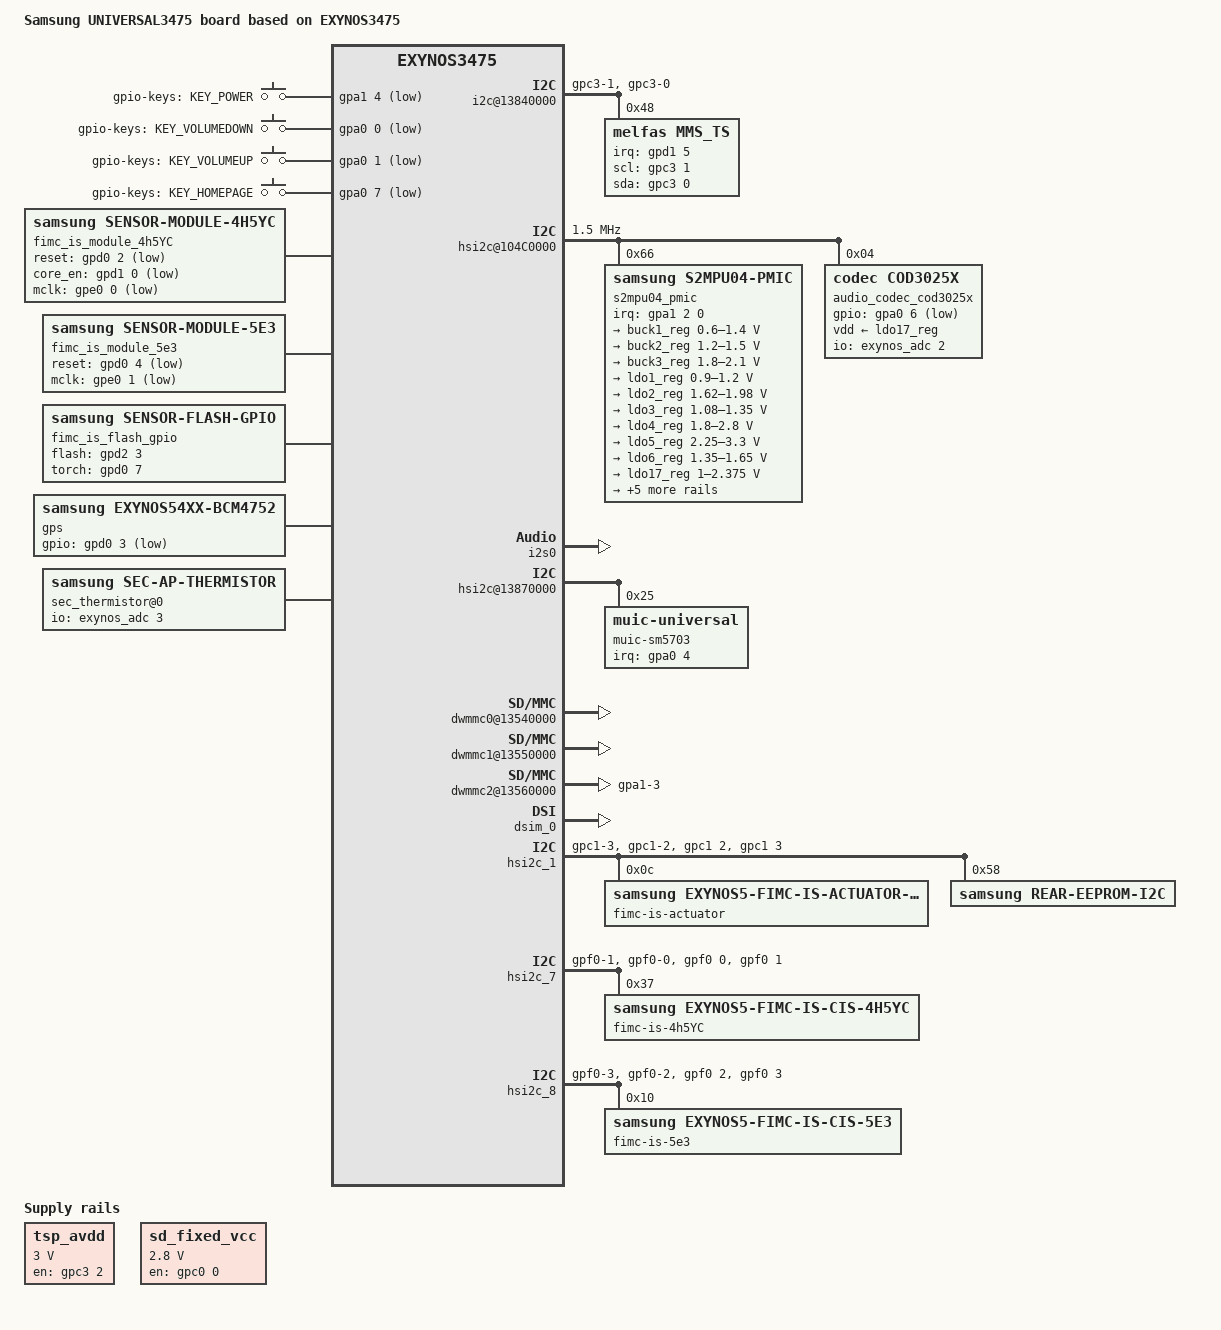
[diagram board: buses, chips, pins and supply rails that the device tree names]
/*
 * SAMSUNG EXYNOS3475 board device tree source
 *
 * Copyright (c) 2013 Samsung Electronics Co., Ltd.
 *		http://www.samsung.com
 *
 * This program is free software; you can redistribute it and/or modify
 * it under the terms of the GNU General Public License version 2 as
 * published by the Free Software Foundation.
*/

#include "exynos3475.dtsi"

/ {
	model = "Samsung UNIVERSAL3475 board based on EXYNOS3475";
	compatible = "samsung,UNIVERSAL3475", "samsung,exynos3475";

	reserved-memory {
		#address-cells = <1>;
		#size-cells = <1>;
		ranges;

		mfc_nfw {
			compatible = "exynos5433-ion,mfc_nfw";
			size = <0x100000>;
			alignment = <0x100000>;
			id = <12>;
		};
	};

	chosen {
		bootargs = "console=ttySAC2,115200 vmalloc=256M ess_setup=0x26000000";
		linux,initrd-start = <0x22000000>;
		linux,initrd-end = <0x221FFFFF>;
	};

	fixed-rate-clocks {
		oscclk {
			compatible = "samsung,exynos3475-oscclk";
			clock-frequency = <26000000>;
		};
	};

	tsp_ldo_en {
		compatible = "regulator-fixed";
		regulator-name = "tsp_avdd";
		regulator-min-microvolt = <3000000>;
		regulator-max-microvolt = <3000000>;
		gpio = <&gpc3 2 0>;
		enable-active-high;
	 };

	pinctrl@139C0000 {
		attn_irq: attn-irq {
			samsung,pins = "gpd1-5";
			samsung,pin-function = <0xf>;
			samsung,pin-pud = <0>;
			samsung,pin-drv = <0>;
		};

		attn_input: attn-input {
			samsung,pins = "gpd1-5";
			samsung,pin-function = <0>;
			samsung,pin-pud = <0>;
			samsung,pin-drv = <0>;
		};
	};

	pinctrl@138D0000 {
		tsp_i2c: tsp-i2c {
			samsung,pins = "gpc3-1", "gpc3-0";
			samsung,pin-function = <2>;
			samsung,pin-pud = <0>;
			samsung,pin-drv = <0>;
		};
	};

	i2c@13840000 {
		samsung,i2c-sda-delay = <100>;
		samsung,i2c-max-bus-freq = <300000>;
		status = "okay";
		pinctrl-names = "default";
		pinctrl-0 = <&tsp_i2c>;
		mms_ts@48 {
			compatible = "melfas,mms_ts";
			reg = <0x48>;
			pinctrl-names = "on_state", "off_state";
			pinctrl-0 = <&attn_irq>;
			pinctrl-1 = <&attn_input>;
			melfas,vdd_en = "tsp_avdd";
			melfas,irq-gpio = <&gpd1 5 0>;
			melfas,scl-gpio = <&gpc3 1 0>;
			melfas,sda-gpio = <&gpc3 0 0>;
			melfas,max_x = <720>;
			melfas,max_y = <1280>;
			melfas,fw_name = "tsp_melfas/mms438_o5.fw";
		};
	};

	pinctrl@139B0000 {
		pmic_irq: pmic-irq {
			samsung,pins = "gpa1-2";
			samsung,pin-pud = <3>;
			samsung,pin-drv = <3>;
		};

		if_irq: if-irq {
			samsung,pins = "gpa0-2";
			samsung,pin-pud = <3>;
			samsung,pin-drv = <3>;
		};

		cod3025_irq: cod3025-irq {
			samsung,pins = "gpa0-6";
			samsung,pin-pud = <3>;
			samsung,pin-drv = <3>;
		};
	};

	pinctrl@139C0000 {
		/* Warm reset information from AP */
		pm_wrsti: pm-wrsti {
			samsung,pins = "gpd0-1";
			samsung,pin-con-pdn = <3>;
		};
	};

	but_zones: but_zones {
		#list-but-cells = <3>;
	};

	hsi2c@104C0000 {
        status = "okay";
		samsung,hs-mode;
		clock-frequency = <1500000>;
		samsung,hsi2c-batcher;
		#address-cells = <1>;
		#size-cells = <0>;
		s2mpu04_pmic@66 {
			compatible = "samsung,s2mpu04-pmic";
			reg = <0x66>;
			ten-bit-address;
			interrupts = <2 0 0>;
			interrupt-parent = <&gpa1>;
			pinctrl-names = "default";
			pinctrl-0 = <&pmic_irq &pm_wrsti>;
			/* RTC: wtsr/smpl */
			wtsr_en = <1>; /* enable */
			smpl_en = <1>; /* enable */
			wtsr_timer_val = <3>;   /* 1000ms */
			smpl_timer_val = <4>;   /* 500ms */
			check_jigon = <0>; /* do not check jigon */
			/* RTC: If it's first boot, reset rtc to 1/1/2015 12:00:00(Wed) */
			init_time,sec = <0>;
			init_time,min = <0>;
			init_time,hour = <12>;
			init_time,mday = <1>;
			init_time,mon = <0>;
			init_time,year = <115>;
			init_time,wday = <4>;

			regulators {
				buck1_reg: BUCK1 {
					regulator-name = "vdd_core";
					regulator-min-microvolt = <600000>;
					regulator-max-microvolt = <1400000>;
					regulator-always-on;
					regulator-boot-on;
					regulator-ramp-delay = <12000>;
					regulator-initial-mode = <3>;
					regulator-expected-consumer = <4>;
				};

				buck2_reg: BUCK2 {
					regulator-name = "vdd_lldo";
					regulator-min-microvolt = <1200000>;
					regulator-max-microvolt = <1500000>;
					regulator-always-on;
					regulator-boot-on;
					regulator-ramp-delay = <12000>;
					regulator-initial-mode = <3>;
				};

				buck3_reg: BUCK3 {
					regulator-name = "vdd_mldo";
					regulator-min-microvolt = <1800000>;
					regulator-max-microvolt = <2100000>;
					regulator-always-on;
					regulator-boot-on;
					regulator-ramp-delay = <12000>;
					regulator-initial-mode = <3>;
				};

				ldo1_reg: LDO1 {
					regulator-name = "vdd_ldo1";
					regulator-min-microvolt = <900000>;
					regulator-max-microvolt = <1200000>;
					regulator-always-on;
					regulator-boot-on;
					regulator-initial-mode = <3>;
				};
				ldo2_reg: LDO2 {
					regulator-name = "vdd_ldo2";
					regulator-min-microvolt = <1620000>;
					regulator-max-microvolt = <1980000>;
					regulator-always-on;
					regulator-boot-on;
					regulator-initial-mode = <3>;
				};

				ldo3_reg: LDO3 {
					regulator-name = "vdd_ldo3";
					regulator-min-microvolt = <1080000>;
					regulator-max-microvolt = <1350000>;
					regulator-boot-on;
					regulator-always-on;
					regulator-initial-mode = <3>;
				};

				ldo4_reg: LDO4 {
					regulator-name = "vqmmc";
					regulator-min-microvolt = <1800000>;
					regulator-max-microvolt = <2800000>;
					regulator-boot-on;
					regulator-ramp-delay = <12000>;
					regulator-initial-mode = <1>;
				};

				ldo5_reg: LDO5 {
					regulator-name = "vdd_ldo5";
					regulator-min-microvolt = <2250000>;
					regulator-max-microvolt = <3300000>;
					regulator-boot-on;
					regulator-always-on;
					regulator-initial-mode = <3>;
				};

				ldo6_reg: LDO6 {
					regulator-name = "vdd_ldo6";
					regulator-min-microvolt = <1350000>;
					regulator-max-microvolt = <1650000>;
					regulator-initial-mode = <1>;
				};

				ldo17_reg: LDO17 {
					regulator-name = "vdd_ldo17";
					regulator-min-microvolt = <1000000>;
					regulator-max-microvolt = <2375000>;
					regulator-initial-mode = <1>;
				};

				ldo21_reg: LDO21 {
					regulator-name = "VDDIO_1.8V_CAM";
					regulator-min-microvolt = <1800000>;
					regulator-max-microvolt = <1800000>;
				};

				ldo22_reg: LDO22 {
					regulator-name = "VDDA_2.8V_CAM";
					regulator-min-microvolt = <2800000>;
					regulator-max-microvolt = <2800000>;
				};

				ldo23_reg: LDO23 {
					regulator-name = "vdd_ldo23";
					regulator-min-microvolt = <1800000>;
					regulator-max-microvolt = <1800000>;
					regulator-initial-mode = <1>;
				};

				ldo24_reg: LDO24 {
					regulator-name = "codec_ldo24";
					regulator-min-microvolt = <1000000>;
					regulator-max-microvolt = <2375000>;
					regulator-boot-on;
					regulator-always-on;
					regulator-initial-mode = <1>;
				};

				ldo25_reg: LDO25 {
					regulator-name = "vdd_ldo25";
					regulator-min-microvolt = <1800000>;
					regulator-max-microvolt = <3375000>;
					regulator-initial-mode = <1>;
				};
			};
		};

		audio_codec_cod3025x: cod3025x@04 {
			compatible = "codec,cod3025x";
			reg = <0x04>;
			ten-bit-address;
			vdd-supply = <&ldo17_reg>;
			pinctrl-names = "default";
			pinctrl-0 = <&cod3025_irq>;
			interrupt-parent = <&gpa0>;
			gpios = <&gpa0 6 0xf>;
			mic-bias1-voltage = <1>;
			mic-bias2-voltage = <1>;
			mic-bias-ldo-voltage = <3>;
			use-btn-adc-mode;
			io-channels = <&exynos_adc 2>;
			io-channel-names = "adc-jack";
			#io-channel-cells = <1>;
			io-channel-ranges;
			but-zones-list = <&but_zones 226 0 380>, /* send/end */
					<&but_zones 582 381 430>, /* google */
					<&but_zones 115 431 575>, /* vol up */
					<&but_zones 114 576 1050>; /* vol down */
			mic-adc-range = <1000>;
			mic-det-delay = <50>;
			adc-trace-num2 = <4>;
		};
	};

	s2803x: s2803x@148C0000 {
		pinctrl-names = "default", "idle";
		pinctrl-0 = <&i2s_pmic_bus &i2s_bt_bus>;
		pinctrl-1 = <&i2s_pmic_bus_idle &i2s_bt_bus_idle>;
		bck-mcko-mode;
		status = "okay";
	};

	i2s0: i2s@148E0000 {
		status = "okay";
	};

	audio_cp_dummy: cp_dummy {
		compatible = "samsung,cp_dummy";
		status = "okay";
	};

	audio_bt_dummy: bt_dummy {
		compatible = "samsung,bt_dummy";
		status = "okay";
	};

	audio_fm_dummy: fm_dummy {
		compatible = "samsung,fm_dummy";
		status = "okay";
	};

	audio_codec_dummy: dummy-codec {
		compatible = "samsung,dummy-codec";
		status = "okay";
	};

	sound {
		compatible = "samsung,universal3475-cod3025x";
		samsung,audio-cpu = <&i2s0	/* primary */
					&i2s0	/* secondary */
					&audio_cp_dummy
					&audio_bt_dummy
					&audio_fm_dummy>;
		samsung,audio-codec = <&audio_codec_cod3025x
					&audio_codec_cod3025x
					&audio_codec_cod3025x
					&audio_codec_dummy
					&audio_codec_cod3025x>;
		samsung,auxdev = <&s2803x>;
		status = "okay";
	};

	hsi2c@13870000 {
		status = "okay";
		muic-sm5703@25 {
			status = "okay";
			compatible = "muic-universal";
			reg = <0x25>;
			pinctrl-names = "default";
			muic-universal,chip_name = "sm,sm5703";
			muic-universal,irq-gpio = <&gpa0 4 0>;
			muic-universal,uart_addr = "139c0000.pinctrl";
			muic-universal,uart_rxd = "gpb1-0";
			muic-universal,uart_txd = "gpb1-1";
		};
	};

	muic {
		status = "disabled";
		muic,support-list = "+OTG:GND",
		"-MHL:1K",
		"-VZW Accessory:28.7K",
		"-VZW Incompatible:34K",
		"-Smartdock:40.2K",
		"-HMT:49.9K",
		"-Audiodock:64.9K",
		"-USB LANHUB:80.07K",
		"+Charging Cable:102K",
		"-Universal Multimedia dock:121K",
		"+Jig USB Off:255K",
		"+Jig USB On:301K",
		"-Deskdock:365K",
		"+TYPE2 Charger:442K",
		"+Jig UART Off:523K",
		"+Jig UART On:619K",
		"+TA:OPEN",
		"+USB:OPEN",
		"+CDP:OPEN",
		"+Undefined Charging:XXX";
	};

	ion {
		compatible = "samsung,exynos5430-ion";

		contig-names = "common",
			       "mfc_sh",
			       "g2d_wfd",
			       "video",
			       "sectbl",
			       "mfc_fw",
			       "mfc_nfw",
			       "secdma";

		contig = <0 0x600000 0x0>,
		         <2 0x100000 0x0>,
		         <10 0x800000 0x0>,
		         <11 0x3000000 0x0>,
		         <9 0x100000 0x0>,
		         <8 0x100000 0x0>,
		         <12 0x100000 0x0>,
		         <13 0x20000 0x0>;

		contig-isolate_on_boot = <0>, <2>, <8>,
					  <9>, <10>, <11>, <12>, <13>;

		ion_noncontig_heap {
			id-type = <0 0>;
		};

		exynos_contig_heap {
			id-type = <4 6>;
		};
	};

	pinctrl@139B0000 {
		gpa0_pull_up: gpa0_pull_up {
			samsung,pins = "gpa0-0", "gpa0-1";
			samsung,pin-function = <0xf>;
			samsung,pin-pud = <3>;
			samsung,pin-drv = <0>;
		};
	};

	gpio_keys {
		compatible = "gpio-keys";
		#address-cells = <1>;
		#size-cells = <0>;
		pinctrl-names = "default";
		pinctrl-0 = <&gpa0_pull_up>;
		button@1 {
			label = "gpio-keys: KEY_POWER";
			interrupts = <4 0 0>;
			interrupt-parent = <&gpa1>;
			linux,code = <116>;
			gpios = <&gpa1 4 0xf>;
			gpio-key,wakeup = <1>;
		};
		button@2 {
			label = "gpio-keys: KEY_VOLUMEDOWN";
			interrupts = <0 0 0>;
			interrupt-parent = <&gpa0>;
			linux,code = <114>;
			gpios = <&gpa0 0 0xf>;
		};
		button@3 {
			label = "gpio-keys: KEY_VOLUMEUP";
			interrupts = <1 0 0>;
			interrupt-parent = <&gpa0>;
			linux,code = <115>;
			gpios = <&gpa0 1 0xf>;
		};
		button@4 {
			label = "gpio-keys: KEY_HOMEPAGE";
			interrupts = <7 0 0>;
			interrupt-parent = <&gpa0>;
			linux,code = <172>;
			gpios = <&gpa0 7 0xf>;
			gpio-key,wakeup = <1>;
		};
	};

	dwmmc0@13540000 {
		status = "okay";
		num-slots = <1>;
		broken-cd;
		use-smu;
		fixed_volt;
		only_once_tune;
		clock-gate;
		enable-cclk-on-suspend;
		supports-highspeed;
		supports-hs200-mode;
		supports-ddr200-mode;
		supports-ddr200-enhanced-strobe;
		enable-ulp-mode;
		ulp-mux-sel-hs400;
		enable-cache-control;
		enable-no-sleep-cmd;
		supports-poweroff-notification;
		use-fine-tuning;
		extra_tuning;
		bypass-for-allpass;
		use-enable-shift;
		desc-size = <4>;
		fifo-depth = <0x40>;
		qos_int_level = <138000>;
		card-detect-delay = <200>;
		data-timeout = <200>;

		/* TXDT_CRC_TIMER_FASTLIMIT[23:16] */
		samsung,dw-mshc-txdt-crc-timer-fastlimit = <0x12>;
		/* TXDT_CRC_TIMER_INITVAL[15:8] */
		samsung,dw-mshc-txdt-crc-timer-initval = <0x14>;
		/* RCLK_DELAY_CTRL[9:0] */
		samsung,dw-mshc-ddr200-delay-line = <0x50>;

		/* For ULP data PATH */
		/* TXDT_CRC_TIMER_FASTLIMIT[23:16] */
		samsung,dw-mshc-ulp-txdt-crc-timer-fastlimit = <0x34>;
		/* TXDT_CRC_TIMER_INITVAL[15:8] */
		samsung,dw-mshc-ulp-txdt-crc-timer-initval = <0x38>;
		/* RCLK_DELAY_CTRL[9:0] */
		samsung,dw-mshc-ulp-ddr200-delay-line = <0x50>;

		samsung,dw-mshc-ciu-div = <3>;
		/* DICRATIO, drv_fine, drv, sample */
		samsung,dw-mshc-sdr-timing = <3 0 2 0>;
		samsung,dw-mshc-sdr-hs-timing = <3 0 2 1>;
		samsung,dw-mshc-ddr-timing = <3 0 4 2>;
		samsung,dw-mshc-hs200-timing = <3 0 3 0>;
		samsung,dw-mshc-ddr200-timing = <1 0 4 0>;
		samsung,dw-mshc-ddr200-ulp-timing = <3 0 4 0>;
		clk_pin = "gpr0-0";
		clk_addr = "13750000.pinctrl";
		clk_val = <0x2>;
		clk_str_num = <4>;
		num-ref-clks = <10>;
		ciu_clkin = <22 42 42 84 167 84 167 334 334 167>;

		pinctrl-names = "default";
		pinctrl-0 = <&sd0_clk &sd0_cmd &sd0_rdqs &sd0_bus1 &sd0_bus4 &sd0_bus8>;
		slot@0 {
			reg = <0>;
			bus-width = <8>;
		};
	};

	dwmmc1@13550000 {
		status = "okay";
		num-slots = <1>;
		cd-type-external;
		pm-ignore-notify;
		keep-power-in-suspend;
		fixed_volt;
		clock-gate;
		enable-cclk-on-suspend;
		caps-control;
		supports-highspeed;
		not-allow-single-dma;
		use-fine-tuning;
		bypass-for-allpass;
		fifo-depth = <0x40>;
		card-detect-delay = <200>;
		qos_int_level = <138000>;
		samsung,dw-mshc-ciu-div = <3>;
		samsung,dw-mshc-sdr-timing = <3 0 2 1>;
		samsung,dw-mshc-ddr-timing = <3 0 3 2>;
		clk_pin = "gpr2-0";
		clk_addr = "13750000.pinctrl";
		clk_val = <0x2>;
		clk_str_num = <6>;
		num-ref-clks = <8>;
		ciu_clkin = <25 50 50 100 200 100 200 400>;
		pinctrl-names = "default";
		pinctrl-0 = <&sd1_clk &sd1_cmd &sd1_bus1 &sd1_bus4 &cfg_wlanen>;

		slot@0 {
			reg = <0>;
			bus-width = <4>;
		};
	};

	dwmmc2@13560000 {
		status = "okay";
		num-slots = <1>;
		cd-type-gpio;
		bypass-smu;
		clock-gate;
		enable-cclk-on-suspend;
		caps-control;
		supports-highspeed;
		supports-sdr104-mode;
		fix-fmp-size-mismatch;
		not-allow-single-dma;
		use-fine-tuning;
		sd_vcc = <&sd_fixed_vcc>;
		desc-size = <4>;
		bypass-for-allpass;
		fifo-depth = <0x40>;
		card-detect-delay = <200>;
		data-timeout = <200>;
		qos_int_level = <138000>;
		samsung,dw-mshc-ciu-div = <3>;
		samsung,dw-mshc-sdr-timing = <3 0 2 0>;
		samsung,dw-mshc-ddr-timing = <3 0 3 2>;
		clk_pin = "gpr4-0";
		clk_addr = "13750000.pinctrl";
		clk_val = <0x2>;
		clk_str_num = <4>;
		num-ref-clks = <8>;
		ciu_clkin = <22 42 42 84 167 84 167 334>; /* clk 666Mhz */
		pinctrl-names = "default", "output";
		pinctrl-0 = <&sd2_clk &sd2_cmd &sd2_bus1 &sd2_bus4 &dwmmc2_cd_ext_irq>;
		pinctrl-1 = <&sd2_clk_output &sd2_cmd_output &sd2_bus1 &sd2_bus4 &dwmmc2_cd_ext_irq>;

		sec-sd-slot-type = <1>; /* hot-plug type */
		cd-gpio = <&gpa1 3 0xf>;
		slot@0 {
			reg = <0>;
			bus-width = <4>;
			disable-wp;
		};
	};

	sd_fixed_vcc: fixedregulator@0 {
		compatible = "regulator-fixed";
		regulator-name = "vmmc";
		gpio = <&gpc0 0 1>;
		regulator-min-microvolt = <2800000>;
		regulator-max-microvolt = <2800000>;
		enable-active-high;
	};

	pinctrl@139B0000 {
		dwmmc1_cd_ext_irq: dwmmc1_cd_ext_irq {
			   samsung,pins = "gpa1-5";
			   samsung,pin-function = <0xf>;
			   samsung,pin-pud = <0>;
			   samsung,pin-drv = <0>;
		};

		dwmmc2_cd_ext_irq: dwmmc2_cd_ext_irq {
			   samsung,pins = "gpa1-3";
			   samsung,pin-function = <0xf>;
			   samsung,pin-pud = <0>;
			   samsung,pin-drv = <0>;
		};
	};

	dsim_0: dsim@14800000 {
		lcd_info = <&ili9881c &s6d7aa0x62>;
		decon_board = <&decon_board_list>;
		/* lcd reset, power */
		/* gpios = <&gpd2 2 0x1>, <&gpd0 5 0x1>, <&gpd1 2 0x1>, <&gpd1 1 0x1>; */
		status = "okay";

		/* number of data lanes in use */
		data_lane_cnt = <4>;
	};

	decon_board_list: decon_board_list {
		dsim_set_panel_power_enable {
			type = "gpio,high", "delay,usleep", "gpio,high", "delay,usleep", "gpio,high", "delay,usleep";
			gpios = <&gpd0 5 0x1>, <&gpd1 2 0x1>, <&gpd1 1 0x1>;
			delay = <10000 11000>, <10000 11000>, <10000 11000>;
		};
		dsim_set_panel_power_disable {
			type = "gpio,low", "delay,usleep", "gpio,low", "delay,usleep", "gpio,low", "delay,usleep", "gpio,low", "delay,usleep";
			gpios = <&gpd2 2 0x1>, <&gpd1 2 0x1>, <&gpd1 1 0x1>, <&gpd0 5 0x1>;
			delay = <10000 11000>, <10000 11000>, <10000 11000>, <10000 11000>;
		};
		dsim_reset_panel {
			type = "gpio,high", "delay,usleep", "gpio,low", "delay,usleep", "gpio,high", "delay,usleep";
			gpios = <&gpd2 2 0x1>, <&gpd2 2 0x1>, <&gpd2 2 0x1>;
			delay = <5000 6000>, <5000 6000>, <10000 11000>;
		};
	};

	ili9881c: ili9881c_hd {
		panel_name = "ili9881c";
		/*Need correct this later*/
		resolution = <720 1280>;
		size = <62 106>;
		timing,refresh = <60>;
		/* HBP:90, HFP:72, HSW:60 */
		timing,h-porch = <90 72 60>;
		/* VBP:20, VFP:15, VSW:10 */
		timing,v-porch = <20 15 10>;
		timing,dsi-hs-clk = <500 494>;
		timing,dsi-escape-clk = <16>;
	};

	s6d7aa0x62: s6d7aa0x62_hd {
		/* Panel ID */
		id = <0x59b810>;
		panel_name = "s6d7aa0x62_";
		/*Need correct this later*/
		resolution = <720 1280>;
		size = <62 106>;
		timing,refresh = <60>;
		/* HBP:112, HFP:96, HSW:28 */
		timing,h-porch = <112 96 28>;
		/* VBP:12, VFP:16, VSW:4 */
		timing,v-porch = <12 16 4>;
		timing,dsi-hs-clk = <500 494>;
		timing,dsi-escape-clk = <16>;
	};

	decon_fb@14830000 {
		/* addr, display frame(l,t,r,b), format */
		/* bootloader_fb = <0x90000000 0 900 1080 1020 0>; */
		/* XEINT7, GPIO & pin control */
		/* gpios = <&gpa0 7 0xf>; */
		/* disp-pll-clk = <284000000>; */
		status = "okay";
		bootloader_fb = <0x57E05000 0 0 540 960 0>;
	};

	usb_notifier {
		compatible = "samsung,usb-notifier";
		udc = <&udc>;
	};

	fimc_is_module_4h5YC: fimc-is_sensor_4h5YC@0 {
		compatible = "samsung,sensor-module-4h5yc";

		pinctrl-names = "pin0", "pin1";
		pinctrl-0 = <&fimc_is_mclk0_fn>; /* rear on */
		pinctrl-1 = <&fimc_is_mclk0_in>; /* rear off */

		position = <0>; /* Rear:0. Front:1 */
		id = <0>; /* sensor id */
		mclk_ch = <0>;
		sensor_i2c_ch = <0>; /* I2C 0 */
		sensor_i2c_addr = <0x37>; /* need the i2c_addr modify */

		gpio_reset = <&gpd0 2 0x1>; /* sensor reset */
		gpio_core_en = <&gpd1 0 0x1>; /* CAM_CORE_EN */
		gpio_mclk = <&gpe0 0 0x1>; /* MAIN_CAM_MCLK */
		status = "okay";

		af {
			product_name = <10>; /* 10: ACTUATOR_NAME_ZC533 */
			i2c_addr = <0x0C>;
			i2c_ch = <0>; /* I2C 0 */
		};

		flash {
			product_name = <11>; /* 11:  FLADRV_NAME_DRV_FLASH_GPIO */
			flash_first_gpio = <2>;
			flash_second_gpio = <1>;
		};
	};

	fimc_is_module_5e3: fimc-is_sensor_5e3@0 {
		compatible = "samsung,sensor-module-5e3";

		pinctrl-names = "pin0", "pin1";
		pinctrl-0 = <&fimc_is_mclk1_fn>; /* front on */
		pinctrl-1 = <&fimc_is_mclk1_in>; /* front off */

		position = <1>; /* Rear:0. Front:1 */
		id = <1>; /* sensor id */
		mclk_ch = <1>;
		sensor_i2c_ch = <1>;
		sensor_i2c_addr = <0x20>; /* need the i2c_addr modify */

		gpio_reset = <&gpd0 4 0x1>; /* VTCAM_RST_N */
		gpio_mclk = <&gpe0 1 0x1>; /* VT_CAM_MCLK */
		status = "okay";
	};

	fimc_is_flash_gpio: fimc-is-flash_gpio@0 {
		compatible = "samsung,sensor-flash-gpio";
		id = <0>; /* sensor id */
		status = "okay";

		flash-gpio = <&gpd2 3 0>;
		torch-gpio = <&gpd0 7 0>;
	};

	hsi2c_1: hsi2c@13880000 {
		gpios = <&gpc1 2 0 &gpc1 3 0>;
		status = "okay";
		samsung,i2c-sda-delay = <100>;
		samsung,i2c-max-bus-freq = <400000>;
		samsung,reset-before-trans;

		pinctrl-names = "default";
		pinctrl-0 = <&hs_i2c1_bus>;

		fimc-is-actuator@0C {
			compatible = "samsung,exynos5-fimc-is-actuator-zc533";
			reg = <0x0C>;
			id = <0>; /* matching sensor id */
		};

		rear-eeprom-i2c@58 {
			compatible = "samsung,rear-eeprom-i2c";
			reg = <0x58>;
		};
	};

	pinctrl@139C0000 {
		hs_i2c1_bus: hs-i2c1-bus {
			samsung,pins = "gpc1-3", "gpc1-2";
			samsung,pin-function = <2>;
			samsung,pin-pud = <0>;
			samsung,pin-drv = <0>;
		};

		hs_i2c7_bus: hs-i2c7-bus {
			samsung,pins = "gpf0-1", "gpf0-0";
			samsung,pin-function = <2>;
			samsung,pin-pud = <0>;
			samsung,pin-drv = <0>;
		};

		hs_i2c8_bus: hs-i2c8-bus {
			samsung,pins = "gpf0-3", "gpf0-2";
			samsung,pin-function = <2>;
			samsung,pin-pud = <0>;
			samsung,pin-drv = <0>;
		};
	};

	hsi2c_7: hsi2c@138A0000 {
		gpios = <&gpf0 0 0 &gpf0 1 0>;
		status = "okay";
		samsung,i2c-sda-delay = <100>;
		samsung,i2c-max-bus-freq = <400000>;
		samsung,reset-before-trans;

		pinctrl-names = "default";
		pinctrl-0 = <&hs_i2c7_bus>;

		fimc-is-4h5YC@37 {
			compatible = "samsung,exynos5-fimc-is-cis-4h5yc";
			reg = <0x37>;
			id = <0>; /* matching sensor id */
			setfile = "setB"; /* setfile_B for universal */
		};
	};

	hsi2c_8: hsi2c@138B0000 {
		gpios = <&gpf0 2 0 &gpf0 3 0>;
		status = "okay";
		samsung,i2c-sda-delay = <100>;
		samsung,i2c-max-bus-freq = <400000>;
		samsung,reset-before-trans;

		pinctrl-names = "default";
		pinctrl-0 = <&hs_i2c8_bus>;

		fimc-is-5e3@10 {
			compatible = "samsung,exynos5-fimc-is-cis-5e3";
			reg = <0x10>;
			id = <1>;  /* matching sensor id */
			setfile = "default";
		};
	};

	pinctrl@139C0000 {
		fled_flash_sleep: fled-flash-sleep {
			samsung,pins = "gpd2-3", "gpd0-7";
			samsung,pin-function = <1>;
			samsung,pin-pud = <1>;
			samsung,pin-drv = <0>;
		};
		fled_flash_active: fled-flash-active {
			samsung,pins = "gpd2-3", "gpd0-7";
			samsung,pin-function = <1>;
			samsung,pin-pud = <1>;
			samsung,pin-drv = <0>;
		};
	};

	fimc_is_sensor0: fimc_is_sensor@14410000 {
		scenario = <0>;
		id = <0>;
		mclk_ch = <0>;
		csi_ch = <0>;
		flite_ch = <0>;
		i2c_ch = <0>;
		i2c_addr = <0x2D>; /* need the i2c_addr modify */
		is_bns = <0>;
		status = "okay";
	};

	fimc_is_sensor1: fimc_is_sensor@14411000 {
		scenario = <0>;
		id = <1>;
		mclk_ch = <1>;
		csi_ch = <0>;
		flite_ch = <0>;
		i2c_ch = <0>;
		i2c_addr = <0x2D>; /* need the i2c_addr modify */
		is_bns = <0>;
		status = "okay";
	};

	fimc_is@14400000 {
		rear_sensor_id = <24>;
		front_sensor_id = <17>;
		front_otprom_reg = <0x10>;
		use_module_check;

		total_camera_num = <2>;
		camera_info0 {				// 0 : rear
			isp = <0>;			/* 0 : INT , 1 : EXT , 2 : SOC */
			cal_memory = <2>;		/* 0 : N , 1 : FROM , 2 : EEPROM , 3 : OTP  */
			read_version = <0>;		/* 0 : SYSFS , 1 : CAMON */
			core_voltage = <0>;		/* 0 : N , 1 : Y  */
			upgrade = <0>;			/* 0 : N , 1 : SYSFS , 2 : CAMON */
			companion = <0>;		/* 0 : N , 1 : Y  */
			ois = <0>;			/* 0 : N , 1 : Y  */
		};
		camera_info1 {				// 1 : front
			isp = <0>;			/* 0 : INT , 1 : EXT , 2 : SOC */
			cal_memory = <3>;		/* 0 : N , 1 : FROM , 2 : EEPROM , 3 : OTP  */
			read_version = <0>;		/* 0 : SYSFS , 1 : CAMON */
			core_voltage = <0>;		/* 0 : N , 1 : Y  */
			upgrade = <0>;			/* 0 : N , 1 : SYSFS , 2 : CAMON */
			companion = <0>;		/* 0 : N , 1 : Y  */
			ois = <0>;			/* 0 : N , 1 : Y  */
		};

		#define DVFS_INT_L0 334000
		#define DVFS_INT_L1 333000
		#define DVFS_INT_L2 275000
		#define DVFS_INT_L3 207000
		#define DVFS_INT_L4 138000
		#define DVFS_INT_L5 104000

		#define DVFS_CAM_L0 0

		#define DVFS_MIF_L0 666000
		#define DVFS_MIF_L1 559000
		#define DVFS_MIF_L2 413000
		#define DVFS_MIF_L3 338000
		#define DVFS_MIF_L4 273000
		#define DVFS_MIF_L5 200000

		fimc_is_dvfs {
			default_int = <DVFS_INT_L0>;
			default_cam = <DVFS_CAM_L0>;
			default_mif = <DVFS_MIF_L0>;
			default_i2c = <0>;

			front_preview_int = <DVFS_INT_L0>;
			front_preview_cam = <DVFS_CAM_L0>;
			front_preview_mif = <DVFS_MIF_L0>;
			front_preview_i2c = <0>;

			front_preview_binning_int = <DVFS_INT_L2>;
			front_preview_binning_cam = <DVFS_CAM_L0>;
			front_preview_binning_mif = <DVFS_MIF_L0>;
			front_preview_binning_i2c = <0>;

			front_capture_int = <DVFS_INT_L0>;
			front_capture_cam = <DVFS_CAM_L0>;
			front_capture_mif = <DVFS_MIF_L0>;
			front_capture_i2c = <0>;

			front_video_int = <DVFS_INT_L0>;
			front_video_cam = <DVFS_CAM_L0>;
			front_video_mif = <DVFS_MIF_L0>;
			front_video_i2c = <0>;

			front_video_whd_int = <DVFS_INT_L0>;
			front_video_whd_cam = <DVFS_CAM_L0>;
			front_video_whd_mif = <DVFS_MIF_L0>;
			front_video_whd_i2c = <0>;

			front_video_capture_int = <DVFS_INT_L0>;
			front_video_capture_cam = <DVFS_CAM_L0>;
			front_video_capture_mif = <DVFS_MIF_L0>;
			front_video_capture_i2c = <0>;

			front_video_whd_capture_int = <DVFS_INT_L0>;
			front_video_whd_capture_cam = <DVFS_CAM_L0>;
			front_video_whd_capture_mif = <DVFS_MIF_L0>;
			front_video_whd_capture_i2c = <0>;

			front_vt1_int = <DVFS_INT_L2>;
			front_vt1_cam = <DVFS_CAM_L0>;
			front_vt1_mif = <DVFS_MIF_L0>;
			front_vt1_i2c = <0>;

			front_vt2_int = <DVFS_INT_L2>;
			front_vt2_cam = <DVFS_CAM_L0>;
			front_vt2_mif = <DVFS_MIF_L0>;
			front_vt2_i2c = <0>;

			rear_preview_fhd_int = <DVFS_INT_L0>;
			rear_preview_fhd_cam = <DVFS_CAM_L0>;
			rear_preview_fhd_mif = <DVFS_MIF_L0>;
			rear_preview_fhd_i2c = <0>;

			rear_preview_whd_int = <DVFS_INT_L0>;
			rear_preview_whd_cam = <DVFS_CAM_L0>;
			rear_preview_whd_mif = <DVFS_MIF_L0>;
			rear_preview_whd_i2c = <0>;

			rear_preview_uhd_int = <DVFS_INT_L0>;
			rear_preview_uhd_cam = <DVFS_CAM_L0>;
			rear_preview_uhd_mif = <DVFS_MIF_L0>;
			rear_preview_uhd_i2c = <0>;

			rear_preview_binning_int = <DVFS_INT_L2>;
			rear_preview_binning_cam = <DVFS_CAM_L0>;
			rear_preview_binning_mif = <DVFS_MIF_L0>;
			rear_preview_binning_i2c = <0>;

			rear_capture_int = <DVFS_INT_L0>;
			rear_capture_cam = <DVFS_CAM_L0>;
			rear_capture_mif = <DVFS_MIF_L0>;
			rear_capture_i2c = <0>;

			rear_video_fhd_int = <DVFS_INT_L0>;
			rear_video_fhd_cam = <DVFS_CAM_L0>;
			rear_video_fhd_mif = <DVFS_MIF_L0>;
			rear_video_fhd_i2c = <0>;

			rear_video_uhd_int = <DVFS_INT_L0>;
			rear_video_uhd_cam = <DVFS_CAM_L0>;
			rear_video_uhd_mif = <DVFS_MIF_L0>;
			rear_video_uhd_i2c = <0>;
			rear_video_fhd_capture_int = <DVFS_INT_L0>;
			rear_video_fhd_capture_cam = <DVFS_CAM_L0>;
			rear_video_fhd_capture_mif = <DVFS_MIF_L0>;
			rear_video_fhd_capture_i2c = <0>;

			rear_video_uhd_capture_int = <DVFS_INT_L0>;
			rear_video_uhd_capture_cam = <DVFS_CAM_L0>;
			rear_video_uhd_capture_mif = <DVFS_MIF_L0>;
			rear_video_uhd_capture_i2c = <0>;

			dual_preview_int = <DVFS_INT_L0>;
			dual_preview_cam = <DVFS_CAM_L0>;
			dual_preview_mif = <DVFS_MIF_L0>;
			dual_preview_i2c = <0>;

			dual_capture_int = <DVFS_INT_L0>;
			dual_capture_cam = <DVFS_CAM_L0>;
			dual_capture_mif = <DVFS_MIF_L0>;
			dual_capture_i2c = <0>;

			dual_video_int = <DVFS_INT_L0>;
			dual_video_cam = <DVFS_CAM_L0>;
			dual_video_mif = <DVFS_MIF_L0>;
			dual_video_i2c = <0>;

			dual_video_capture_int = <DVFS_INT_L0>;
			dual_video_capture_cam = <DVFS_CAM_L0>;
			dual_video_capture_mif = <DVFS_MIF_L0>;
			dual_video_capture_i2c = <0>;

			preview_high_speed_fps_int = <DVFS_INT_L0>;
			preview_high_speed_fps_cam = <DVFS_CAM_L0>;
			preview_high_speed_fps_mif = <DVFS_MIF_L0>;
			preview_high_speed_fps_i2c = <0>;

			video_high_speed_fps_int = <DVFS_INT_L0>;
			video_high_speed_fps_cam = <DVFS_CAM_L0>;
			video_high_speed_fps_mif = <DVFS_MIF_L0>;
			video_high_speed_fps_i2c = <0>;

			max_int = <DVFS_INT_L0>;
			max_cam = <DVFS_CAM_L0>;
			max_mif = <DVFS_MIF_L0>;
			max_i2c = <0>;
		};
	};

	/* modem_interface */
	mif_pdata {
		pinctrl-names = "default";
		pinctrl-0 = <&ds_det>;

		/* To do: will be remove, for system revision */
		gpios = <&gpf1 2 0x0>,
		       <&gpf1 3 0x0>,
		       <&gpd1 7 0x0>;

		mif,gpio_ds_det = <&gpc0 2 0x0>;

		mif,ap_clk_table = <
			/* khz */
			1300000
			1196000
			1105000
			1001000
			897000
			806000
			702000
			598000
			507000
			403000
			>;

		mif,mif_clk_table = <
			/* khz */
			666000
			559000
			413000
			338000
			273000
			200000
			>;
	};

	pinctrl@139C0000 {
		ds_det: ds_det {
			samsung,pins = "gpc0-2";
			samsung,pin-function = <0>;	/* INPUT */
			samsung,pin-pud = <0>;
			samsung,pin-con-pdn = <3>;	/* PREV STATE */
			samsung,pin-pud-pdn = <0>;
		};
	};
	pinctrl@139C0000 {
		uart0_rts: uart0-rts {
			samsung,pins = "gpb0-3";
			samsung,pin-function = <2>;
			samsung,pin-pud = <3>;
			samsung,pin-con-pdn = <1>;
			samsung,pin-pud-pdn = <3>;
		};

		uart0_cts: uart0-cts {
			samsung,pins = "gpb0-2";
			samsung,pin-function = <2>;
			samsung,pin-pud = <3>;
			samsung,pin-con-pdn = <2>;
			samsung,pin-pud-pdn = <3>;
		};

		uart0_tx: uart0-tx {
			samsung,pins = "gpb0-1";
			samsung,pin-function = <2>;
			samsung,pin-pud = <3>;
			samsung,pin-con-pdn = <1>;
			samsung,pin-pud-pdn = <3>;
		};

		uart0_rx: uart0-rx {
			samsung,pins = "gpb0-0";
			samsung,pin-function = <2>;
			samsung,pin-pud = <3>;
			samsung,pin-con-pdn = <2>;
			samsung,pin-pud-pdn = <3>;
		};
	};

	pinctrl@148F0000 {
			i2s_pmic_bus: i2s-pmic-bus {
			samsung,pins = "gpz1-0", "gpz1-1", "gpz1-2", "gpz1-3";
			samsung,pin-function = <2>;
			samsung,pin-pud = <3>;
			samsung,pin-drv = <8>;
		};
	};

	serial@13800000 {
		pinctrl-0 = <&uart0_rts &uart0_cts &uart0_tx &uart0_rx>;
	};

	gps {
		compatible = "samsung,exynos54xx-bcm4752";
		gpios = <&gpd0 3 0x1>;   /* GPS_EN */
		status = "okay";
	};

	argos {
		compatible = "samsung,argos";
		#address-cells = <1>;
		/*  The device number should be assigned for each device, e.g. "boot_device@1" and "boot_device@2".
		    Duplicated number is not allowed. Please refer the below example. */

		/* Table Format should be
		 * <Throughput(Mbps) ARM_min ARM_max MIF INT Task IRQ>
		 * ARM_min : ARM Core's minimum frequency lock. 0 means not set,
		 * ARM_max : ARM Core's maximum frequency lock. 0 means not set,
		 * MIF : MIF frequency lock. 0 means not set,
		 * INT : INT frequency lock. 0 means not set,
		 * Task : 1 - Set task affinity lock.
		 *        0 - Not set or unlock,
		 *              Task affinity should be predefined driver's code.
		 * IRQ : 1 - Set irq affinity lock.
		 *       0 - Not set or unlock,
		 *              Task affinity should be predefined driver's code.
		 */
		boot_device@1 {
			net_boost,label="IPC";
			net_boost,node="rmnet0 rmnet1 rmnet2 rmnet3 rmnet4 rmnet5 rmnet6 rmnet7 umts_dm0";
			net_boost,table_size = <4>;
			net_boost,table= <  1 0 0 0 0 0 1
					   20 702000 0 413000 100000 0 1
					   50 897000 0 559000 100000 0 1
					  100 1196000 0 666000 100000 0 1>;
		};
		boot_device@2 {
			net_boost,label="USB";
			net_boost,node="rndis0";
			net_boost,table_size = <1>;
			net_boost,table= < 1 0 0 0 0 0 1 >;
		};
		/* Example
		   boot_device@2 {
		   net_boost,label="EMMC";
		   net_boost,node="";
		   net_boost,sysnode="/sys/class/mmc_host/mmc0/trans_count";
		   net_boost,table_size = <1>;
		   net_boost,table= <64 0 0 1300000 0 825000 400000 0 0>;
		   };
		   boot_device@3 {
		   net_boost,label="WIFI";
		   net_boost,node="wlan0";
		   net_boost,table_size = <3>;
		   net_boost,table= <60 1000000 0 800000 0 0 200000 0 0
		   100 1200000 0 1000000 0 0 200000 0 0
		   180 1700000 0 1100000 0 543000 267000 0 0>;
		   };
		   boot_device@4 {
		   net_boost,label="P2P";
		   net_boost,node="p2p-wlan0-0";
		   net_boost,table_size = <3>;
		   net_boost,table= <30 1000000 0 800000 0 0 200000 0 0
		   50 1200000 0 1000000 0 0 200000 0 0
		   90 1700000 0 1100000 0 543000 267000 0 0>;
		   };
		   boot_device@5 {
		   net_boost,label="CLAT";
		   net_boost,node="clat clat4";
		   net_boost,table_size = <3>;
		   net_boost,table= <120 1400000 0 0 0 825000 0 0 0
		   130 1500000 0 0 0 825000 0 0 0
		   150 1600000 0 0 0 825000 0 0 0>;
		   };
		 */
	};

	sec_thermistor@0 {
		compatible = "samsung,sec-ap-thermistor";
		status = "okay";

		adc_array = <258 268 279 289 300 310 320 331 341 352
				362 374 387 399 412 424 438 453 467 482
				496 516 536 555 575 595 616 636 657 677
				698 722 747 771 796 820 847 875 902 930
				957 992 1027 1061 1096 1131 1167 1202 1238 1273
				1309 1347 1385 1423 1461 1499 1541 1583 1624 1666
				1708 1753 1798 1844 1889 1934 1981 2029 2076 2124
				2171 2218 2265 2313 2360 2407 2454 2501 2549 2596
				2643 2687 2731 2776 2820 2864 2911 2958 3004 3051
				3098 3134 3171 3207 3244 3280 3312 3344 3376 3408
				3440 3467 3494 3521 3548 3575 3596 3617 3637 3658 3679>;
		temp_array = <900 890 880 870 860 850 840 830 820 810
				800 790 780 770 760 750 740 730 720 710
				700 690 680 670 660 650 640 630 620 610
				600 590 580 570 560 550 540 530 520 510
				500 490 480 470 460 450 440 430 420 410
				400 390 380 370 360 350 340 330 320 310
				300 290 280 270 260 250 240 230 220 210
				200 190 180 170 160 150 140 130 120 110
				100 90 80 70 60 50 40 30 20 10
				0 (-10) (-20) (-30) (-40) (-50) (-60) (-70) (-80) (-90)
				(-100) (-110) (-120) (-130) (-140) (-150) (-160) (-170) (-180) (-190) (-200)>;
		io-channels = <&exynos_adc 3>;
		io-channel-names = "adc-ap-temp";
		io-channel-ranges;
	};
};
